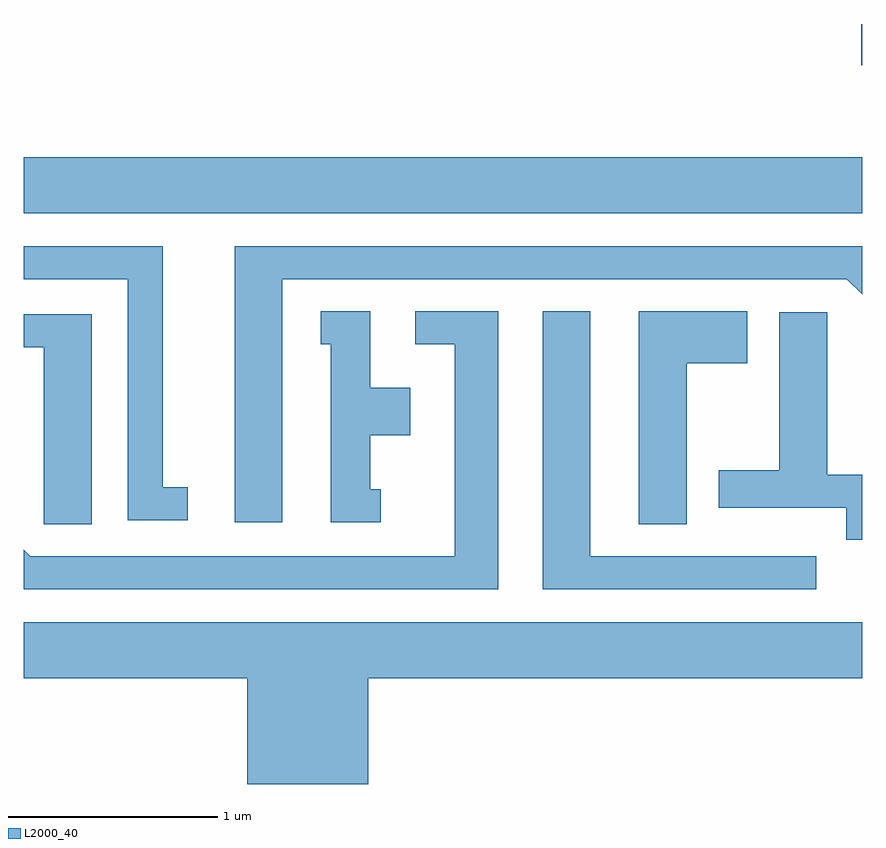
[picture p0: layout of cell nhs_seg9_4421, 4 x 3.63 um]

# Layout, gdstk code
import gdstk
lib = gdstk.Library(unit=1e-6, precision=1e-09)
def R(c, l, rs):  # rectangles x0, y0, x1, y1
    for r in rs: c.add(gdstk.rectangle(r[:2], r[2:], *l))
def P(c, l, *ps):  # polygons
    for p in ps: c.add(gdstk.Polygon(p, *l))
L2000_40 = (2000, 40)

nhs_seg9_4421 = lib.new_cell('nhs_seg9_4421')
R(nhs_seg9_4421, L2000_40, [(315.611,1985.156,319.611,1985.424), (319.606,1985.861,319.611,1986.059)])
P(nhs_seg9_4421, L2000_40, [(316.393,1983.849),(316.274,1983.849),(316.274,1984.999),(315.611,1984.999),(315.611,1984.841),(316.106,1984.841),(316.106,1983.691),(316.393,1983.691)],
  [(316.844,1984.841),(319.539,1984.841),(319.611,1984.769),(319.611,1984.999),(316.616,1984.999),(316.616,1983.681),(316.844,1983.681)],
  [(317.874,1984.689),(317.478,1984.689),(317.478,1984.531),(317.666,1984.531),(317.666,1983.519),(315.642,1983.519),(315.611,1983.55),(315.611,1983.361),(317.874,1983.361)],
  [(318.774,1984.441),(319.064,1984.441),(319.064,1984.689),(318.546,1984.689),(318.546,1983.671),(318.774,1983.671)],
  [(319.393,1983.519),(318.314,1983.519),(318.314,1984.689),(318.086,1984.689),(318.086,1983.361),(319.393,1983.361)],
  [(317.313,1983.839),(317.264,1983.839),(317.264,1984.096),(317.454,1984.096),(317.454,1984.324),(317.264,1984.324),(317.264,1984.689),(317.028,1984.689),(317.028,1984.531),(317.076,1984.531),(317.076,1983.681),(317.313,1983.681)],
  [(319.611,1983.909),(319.444,1983.909),(319.444,1984.684),(319.216,1984.684),(319.216,1983.929),(318.926,1983.929),(318.926,1983.751),(319.536,1983.751),(319.536,1983.598),(319.611,1983.598)],
  [(315.934,1984.674),(315.611,1984.674),(315.611,1984.516),(315.706,1984.516),(315.706,1983.671),(315.934,1983.671)],
  [(317.254,1982.936),(319.611,1982.936),(319.611,1983.204),(315.611,1983.204),(315.611,1982.936),(316.676,1982.936),(316.676,1982.432),(317.254,1982.432)])

lib.write_gds('nhs_seg9_4421.gds')
